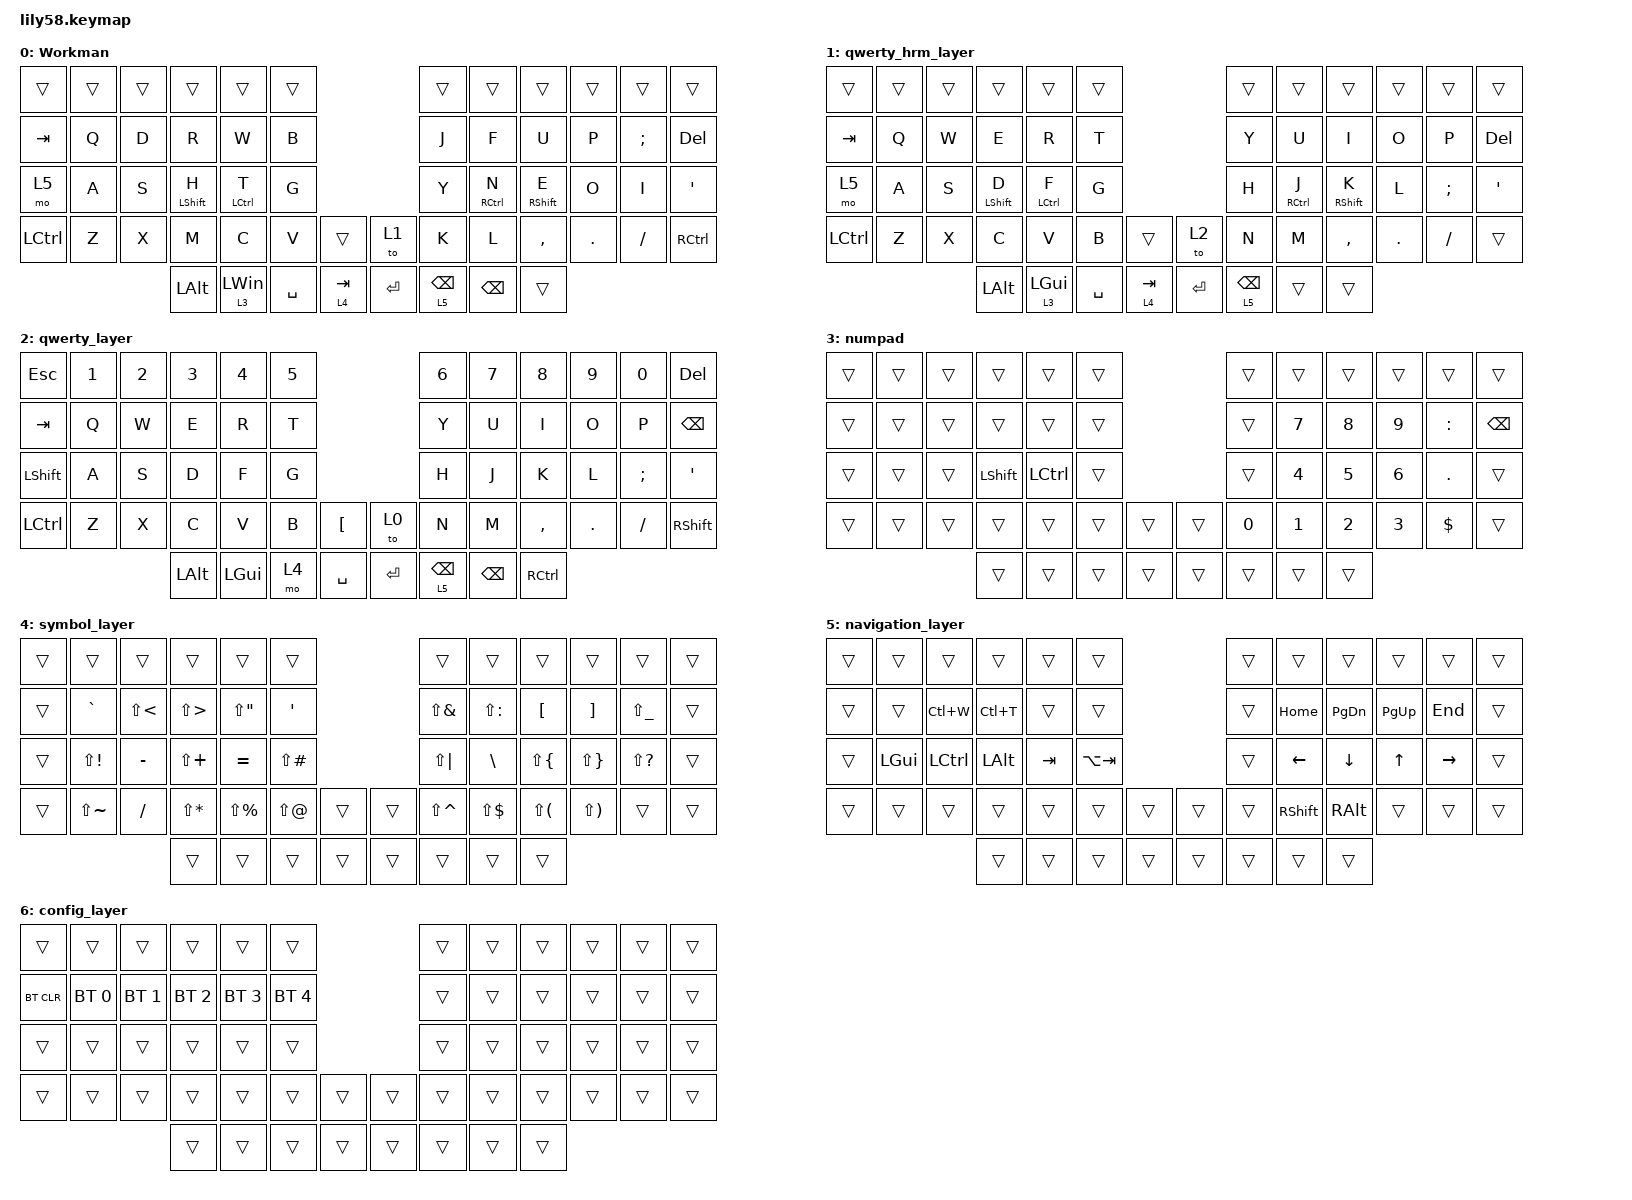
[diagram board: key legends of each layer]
/*
 * Copyright (c) 2020 The ZMK Contributors
 *
 * SPDX-License-Identifier: MIT
 */

#include <behaviors.dtsi>
#include <dt-bindings/zmk/bt.h>
#include <dt-bindings/zmk/keys.h>

/ {
    behaviors {
        new_behavior: new_behavior {
            compatible = "zmk,behavior-hold-tap";
            label = "NEW_BEHAVIOR";
            bindings = <&kp>, <&kp>;

            #binding-cells = <2>;
            flavor = "balanced";
            tapping-term-ms = <280>;
            quick-tap-ms = <175>;
            require-prior-idle-ms = <150>;
        };
    };

    combos {
        compatible = "zmk,combos";

        enter {
            bindings = <&kp ESCAPE>;
            key-positions = <53 54>;
        };
    };

    keymap {
        compatible = "zmk,keymap";

        Workman {
            bindings = <
&trans     &trans  &trans  &trans            &trans          &trans                             &trans           &trans         &trans             &trans   &trans    &trans
&kp TAB    &kp Q   &kp D   &kp R             &kp W           &kp B                              &kp J            &kp F          &kp U              &kp P    &kp SEMI  &kp DEL
&mo 5      &kp A   &kp S   &mt LEFT_SHIFT H  &mt LCTRL T     &kp G                              &kp Y            &mt RCTRL N    &mt RIGHT_SHIFT E  &kp O    &kp I     &kp SQT
&kp LCTRL  &kp Z   &kp X   &kp M             &kp C           &kp V      &trans       &to 1      &kp K            &kp L          &kp COMMA          &kp DOT  &kp FSLH  &kp RCTRL
                           &kp LEFT_ALT      &lt 3 LEFT_WIN  &kp SPACE  &lt 4 TAB    &kp ENTER  &lt 5 BACKSPACE  &kp BACKSPACE  &trans
            >;
        };

        qwerty_hrm_layer {
            // ------------------------------------------------------------------------------------------------------------
            // |  ESC  |  1  |  2  |  3   |  4   |  5   |                   |  6   |  7    |  8    |  9   |   0   |   `   |
            // |  TAB  |  Q  |  W  |  E   |  R   |  T   |                   |  Y   |  U    |  I    |  O   |   P   |   -   |
            // |  CTRL |  A  |  S  |  D   |  F   |  G   |                   |  H   |  J    |  K    |  L   |   ;   |   '   |
            // | SHIFT |  Z  |  X  |  C   |  V   |  B   |   "["  |  |  "]"  |  N   |  M    |  ,    |  .   |   /   | SHIFT |
            //                     | ALT  | GUI  | LOWER|  SPACE |  | ENTER | RAISE| BSPC  | GUI   |

            bindings = <
&trans     &trans  &trans  &trans            &trans              &trans                             &trans           &trans       &trans             &trans   &trans         &trans
&kp TAB    &kp Q   &kp W   &kp E             &kp R               &kp T                              &kp Y            &kp U        &kp I              &kp O    &kp P          &kp DEL
&mo 5      &kp A   &kp S   &mt LEFT_SHIFT D  &mt LEFT_CONTROL F  &kp G                              &kp H            &mt RCTRL J  &mt RIGHT_SHIFT K  &kp L    &kp SEMICOLON  &kp SQT
&kp LCTRL  &kp Z   &kp X   &kp C             &kp V               &kp B      &trans       &to 2      &kp N            &kp M        &kp COMMA          &kp DOT  &kp FSLH       &trans
                           &kp LALT          &lt 3 LEFT_GUI      &kp SPACE  &lt 4 TAB    &kp ENTER  &lt 5 BACKSPACE  &trans       &trans
            >;
        };

        qwerty_layer {
            bindings = <
&kp ESC     &kp N1  &kp N2  &kp N3    &kp N4    &kp N5                        &kp N6           &kp N7         &kp N8     &kp N9   &kp N0    &kp DELETE
&kp TAB     &kp Q   &kp W   &kp E     &kp R     &kp T                         &kp Y            &kp U          &kp I      &kp O    &kp P     &kp BACKSPACE
&kp LSHIFT  &kp A   &kp S   &kp D     &kp F     &kp G                         &kp H            &kp J          &kp K      &kp L    &kp SEMI  &kp SQT
&kp LCTRL   &kp Z   &kp X   &kp C     &kp V     &kp B   &kp LBKT     &to 0    &kp N            &kp M          &kp COMMA  &kp DOT  &kp FSLH  &kp RSHFT
                            &kp LALT  &kp LGUI  &mo 4   &kp SPACE    &kp RET  &lt 5 BACKSPACE  &kp BACKSPACE  &kp RCTRL
            >;
        };

        numpad {
            bindings = <
&trans  &trans  &trans  &trans     &trans     &trans                    &trans  &trans  &trans  &trans  &trans      &trans
&trans  &trans  &trans  &trans     &trans     &trans                    &trans  &kp N7  &kp N8  &kp N9  &kp COLON   &kp BACKSPACE
&trans  &trans  &trans  &kp LSHFT  &kp LCTRL  &trans                    &trans  &kp N4  &kp N5  &kp N6  &kp DOT     &trans
&trans  &trans  &trans  &trans     &trans     &trans  &trans    &trans  &kp N0  &kp N1  &kp N2  &kp N3  &kp DOLLAR  &trans
                        &trans     &trans     &trans  &trans    &trans  &trans  &trans  &trans
            >;
        };

        symbol_layer {
            bindings = <
&trans  &trans         &trans      &trans        &trans         &trans                           &trans         &trans         &trans        &trans        &trans         &trans
&trans  &kp GRAVE      &kp LS(LT)  &kp LS(GT)    &kp LS(DQT)    &kp SQT                          &kp LS(AMPS)   &kp LS(COLON)  &kp LBKT      &kp RBKT      &kp LS(UNDER)  &trans
&trans  &kp LS(EXCL)   &kp MINUS   &kp LS(PLUS)  &kp EQUAL      &kp LS(POUND)                    &kp LS(PIPE)   &kp BACKSLASH  &kp LS(LBRC)  &kp LS(RBRC)  &kp LS(QMARK)  &trans
&trans  &kp LS(TILDE)  &kp FSLH    &kp LS(STAR)  &kp LS(PRCNT)  &kp LS(AT)     &trans    &trans  &kp LS(CARET)  &kp LS(DLLR)   &kp LS(LPAR)  &kp LS(RPAR)  &trans         &trans
                                   &trans        &trans         &trans         &trans    &trans  &trans         &trans         &trans
            >;
        };

        navigation_layer {
            bindings = <
&trans  &trans        &trans     &trans        &trans   &trans                         &trans  &trans     &trans     &trans        &trans     &trans
&trans  &trans        &kp LC(W)  &kp LC(T)     &trans   &trans                         &trans  &kp HOME   &kp PG_DN  &kp PG_UP     &kp END    &trans
&trans  &kp LEFT_GUI  &kp LCTRL  &kp LEFT_ALT  &kp TAB  &kp LA(TAB)                    &trans  &kp LEFT   &kp DOWN   &kp UP_ARROW  &kp RIGHT  &trans
&trans  &trans        &trans     &trans        &trans   &trans       &trans    &trans  &trans  &kp RSHFT  &kp RALT   &trans        &trans     &trans
                                 &trans        &trans   &trans       &trans    &trans  &trans  &trans     &trans
            >;
        };

        config_layer {
            bindings = <
&trans      &trans        &trans        &trans        &trans        &trans                          &trans  &trans  &trans  &trans  &trans  &trans
&bt BT_CLR  &bt BT_SEL 0  &bt BT_SEL 1  &bt BT_SEL 2  &bt BT_SEL 3  &bt BT_SEL 4                    &trans  &trans  &trans  &trans  &trans  &trans
&trans      &trans        &trans        &trans        &trans        &trans                          &trans  &trans  &trans  &trans  &trans  &trans
&trans      &trans        &trans        &trans        &trans        &trans        &trans    &trans  &trans  &trans  &trans  &trans  &trans  &trans
                                        &trans        &trans        &trans        &trans    &trans  &trans  &trans  &trans
            >;
        };
    };

    conditional_layers {
        compatible = "zmk,conditional-layers";

        config_conditional {
            if-layers = <4 5>;
            then-layer = <6>;
        };
    };
};
